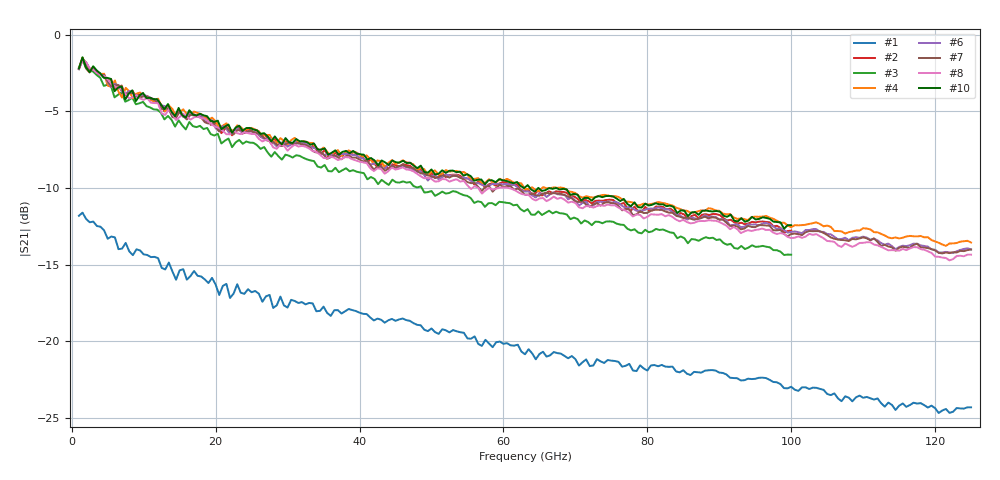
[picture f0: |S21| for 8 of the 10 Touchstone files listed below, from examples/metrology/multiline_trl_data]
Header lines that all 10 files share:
# GHz S RI R 50.0
!freq ReS11 ImS11 ReS21 ImS21 ReS12 ImS12 ReS22 ImS22
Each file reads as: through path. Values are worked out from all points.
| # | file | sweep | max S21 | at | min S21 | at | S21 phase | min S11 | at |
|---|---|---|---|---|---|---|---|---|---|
| 1 | DUT.s2p | 1 GHz to 125 GHz | -11.61 dB | 1.5 GHz | -24.7 dB | 120.5 GHz | 47 deg at 63 GHz | -45.1 dB | 21.5 GHz |
| 2 | line2p3mm.s2p | 1 GHz to 100 GHz | -1.52 dB | 1.495 GHz | -12.9 dB | 99.01 GHz | 102 deg at 50.5 GHz | -43.0 dB | 72.28 GHz |
| 3 | line10mm.s2p | 1 GHz to 100 GHz | -1.66 dB | 1.495 GHz | -14.4 dB | 99.01 GHz | -65 deg at 50.5 GHz | -48.5 dB | 8.425 GHz |
| 4 | line300um.s2p | 1 GHz to 125 GHz | -1.54 dB | 1.5 GHz | -13.8 dB | 121.5 GHz | 137 deg at 63 GHz | -37.4 dB | 78.5 GHz |
| 5 | line1200um.s2p | 1 GHz to 125 GHz | -1.55 dB | 1.5 GHz | -14.1 dB | 122.5 GHz | -13 deg at 63 GHz | -36.9 dB | 44.5 GHz |
| 6 | line2950um.s2p | 1 GHz to 125 GHz | -1.64 dB | 1.5 GHz | -14.2 dB | 122.5 GHz | 56 deg at 63 GHz | -36.9 dB | 46 GHz |
| 7 | line3550um.s2p | 1 GHz to 125 GHz | -1.63 dB | 1.5 GHz | -14.3 dB | 121 GHz | -41 deg at 63 GHz | -39.8 dB | 38.5 GHz |
| 8 | line5050um.s2p | 1 GHz to 125 GHz | -1.70 dB | 1.5 GHz | -14.7 dB | 122 GHz | 69 deg at 63 GHz | -37.2 dB | 38.5 GHz |
| 9 | linep3mm.s2p | 1 GHz to 100 GHz | -1.51 dB | 1.495 GHz | -12.5 dB | 99.5 GHz | 47 deg at 50.5 GHz | -51.5 dB | 43.57 GHz |
| 10 | thru.s2p | 1 GHz to 100 GHz | -1.48 dB | 1.495 GHz | -12.7 dB | 99.01 GHz | 94 deg at 50.5 GHz | -50.1 dB | 13.38 GHz |
